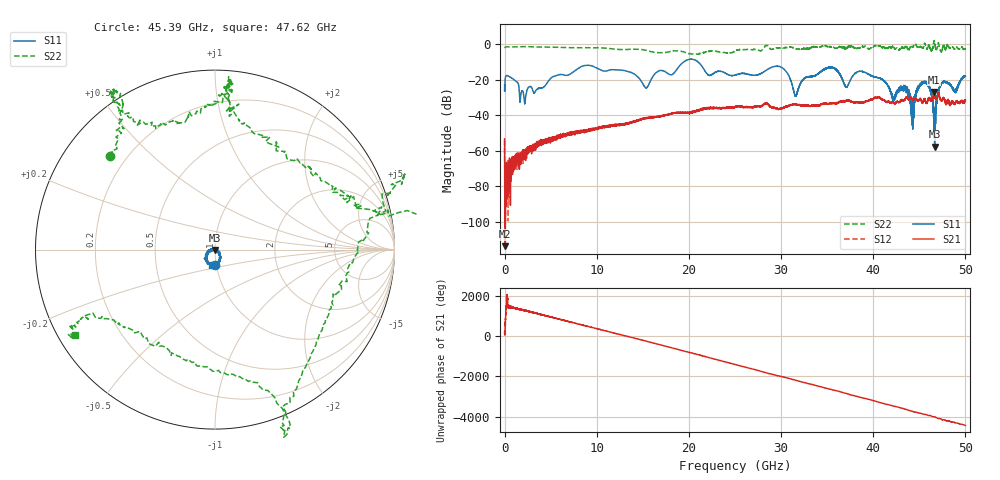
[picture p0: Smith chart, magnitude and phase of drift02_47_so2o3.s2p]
!Created with skrf (http://scikit-rf.org).
# Hz S RI R 50.0
!freq ReS11 ImS11 ReS21 ImS21 ReS12 ImS12 ReS22 ImS22
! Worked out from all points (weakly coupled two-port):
!   10001 points, 300 kHz to 50 GHz, reference 50 ohm
!   highest |S21| = -26.82 dB at 46.61 GHz (marker M1); lowest = -113.7 dB at 75.3 MHz (marker M2)
!   lowest |S11| = -57.6 dB at 46.67 GHz (marker M3), VSWR 1.00, Z = 50 - j0.131 ohm
!   |S11| at or under -10 dB: start of sweep to 19.42 GHz; 21.00407 GHz to 21.00872 GHz (4.651 MHz wide, 0.0221 % of centre); 21.01 GHz to end of sweep
!   |S22| runs from -5.7 to 2.2 dB; largest |S21 - S12| = 0.0035
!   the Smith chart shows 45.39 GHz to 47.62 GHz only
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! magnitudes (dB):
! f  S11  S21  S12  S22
! 300 kHz  -22.8  -53.3  -53.8  -2.1
! 75.3 MHz  -18.9  -113.7  -76.2  -1.5
! 260.3 MHz  -17.6  -68.2  -71.4  -1.4
! 2.19 GHz  -33.5  -63.3  -62.1  -1.3
! 8.335 GHz  -12.5  -49.4  -49.0  -1.9
! 15.34 GHz  -24.5  -41.5  -41.7  -3.3
! 16.67 GHz  -15.1  -40.6  -40.7  -4.7
! 20.31 GHz  -8.4  -38.1  -38.7  -5.5
! 25 GHz  -17.4  -35.3  -35.5  -3.9
! 29.83 GHz  -12.5  -36.4  -36.5  -2.0
! 31.59 GHz  -28.8  -33.7  -34.0  -2.4
! 33.34 GHz  -18.0  -34.4  -34.5  -1.6
! 37.1 GHz  -24.2  -31.9  -31.6  -2.3
! 38.75 GHz  -15.2  -32.7  -32.6  -0.9
! 41.67 GHz  -23.8  -32.2  -32.3  -1.8
! 43.52 GHz  -24.5  -30.1  -30.5  -1.2
! 44.25 GHz  -35.2  -31.2  -31.1  -1.4
! 45.7 GHz  -21.9  -32.4  -32.4  -0.8
! 46.61 GHz  -45.6  -26.8  -27.2  2.2
! 46.67 GHz  -57.6  -28.9  -28.7  0.4
! 47.47 GHz  -21.7  -31.4  -31.5  -3.3
! 50 GHz  -18.0  -31.2  -31.6  -2.7
